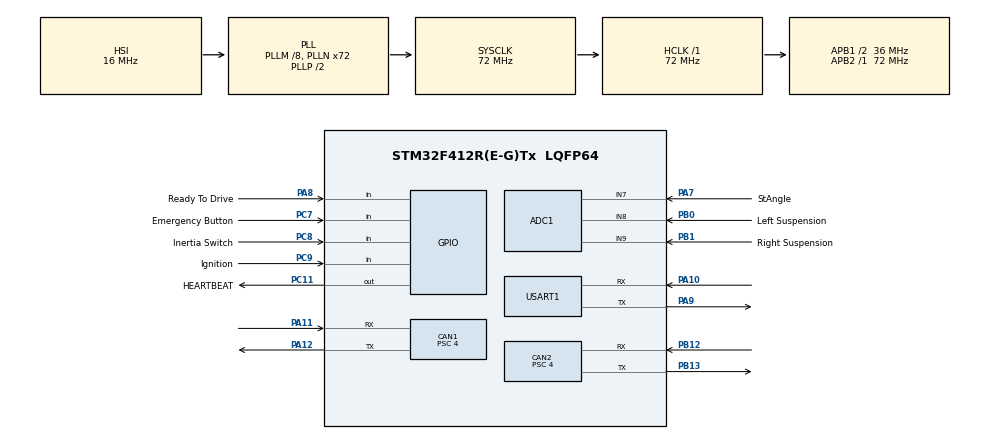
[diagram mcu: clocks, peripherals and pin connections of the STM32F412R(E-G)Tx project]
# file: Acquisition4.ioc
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ADC1.Channel-0\#ChannelRegularConversion=ADC_CHANNEL_7
ADC1.Channel-1\#ChannelRegularConversion=ADC_CHANNEL_8
ADC1.Channel-2\#ChannelRegularConversion=ADC_CHANNEL_9
ADC1.ContinuousConvMode=ENABLE
ADC1.DMAContinuousRequests=ENABLE
ADC1.EOCSelection=ADC_EOC_SEQ_CONV
ADC1.NbrOfConversion=3
ADC1.NbrOfConversionFlag=1
ADC1.Rank-0\#ChannelRegularConversion=1
ADC1.Rank-1\#ChannelRegularConversion=2
ADC1.Rank-2\#ChannelRegularConversion=3
ADC1.SamplingTime-0\#ChannelRegularConversion=ADC_SAMPLETIME_480CYCLES
ADC1.SamplingTime-1\#ChannelRegularConversion=ADC_SAMPLETIME_480CYCLES
ADC1.SamplingTime-2\#ChannelRegularConversion=ADC_SAMPLETIME_480CYCLES
ADC1.ScanConvMode=ENABLE
ADC1.master=1
CAN1.ABOM=ENABLE
CAN1.BS1=CAN_BS1_6TQ
CAN1.BS2=CAN_BS2_2TQ
CAN1.CalculateBaudRate=1000000
CAN1.CalculateTimeBit=1000
CAN1.CalculateTimeQuantum=111.11111111111111
CAN1.NART=DISABLE
CAN1.Prescaler=4
CAN2.ABOM=ENABLE
CAN2.BS1=CAN_BS1_6TQ
CAN2.BS2=CAN_BS2_2TQ
CAN2.CalculateBaudRate=1000000
CAN2.CalculateTimeBit=1000
CAN2.CalculateTimeQuantum=111.11111111111111
CAN2.NART=DISABLE
CAN2.Prescaler=4
Dma.ADC1.0.Direction=DMA_PERIPH_TO_MEMORY
Dma.ADC1.0.FIFOMode=DMA_FIFOMODE_DISABLE
Dma.ADC1.0.Instance=DMA2_Stream0
Dma.ADC1.0.MemDataAlignment=DMA_MDATAALIGN_HALFWORD
Dma.ADC1.0.MemInc=DMA_MINC_ENABLE
Dma.ADC1.0.Mode=DMA_CIRCULAR
Dma.ADC1.0.PeriphDataAlignment=DMA_PDATAALIGN_HALFWORD
Dma.ADC1.0.PeriphInc=DMA_PINC_DISABLE
Dma.ADC1.0.Priority=DMA_PRIORITY_LOW
Dma.Request0=ADC1
IWDG.Prescaler=IWDG_PRESCALER_64
IWDG.Reload=1000
Mcu.Family=STM32F4
Mcu.Name=STM32F412R(E-G)Tx
Mcu.Package=LQFP64
NVIC.CAN1_RX0_IRQn=true\:0\:0\:false\:false\:true\:true\:true\:true
NVIC.CAN1_RX1_IRQn=true\:0\:0\:false\:false\:true\:true\:true\:true
NVIC.CAN1_SCE_IRQn=true\:0\:0\:false\:false\:true\:true\:true\:true
NVIC.CAN1_TX_IRQn=true\:0\:0\:false\:false\:true\:true\:true\:true
NVIC.CAN2_RX0_IRQn=true\:0\:0\:false\:false\:true\:true\:true\:true
NVIC.CAN2_RX1_IRQn=true\:0\:0\:false\:false\:true\:true\:true\:true
NVIC.CAN2_SCE_IRQn=true\:0\:0\:false\:false\:true\:true\:true\:true
NVIC.CAN2_TX_IRQn=true\:0\:0\:false\:false\:true\:true\:true\:true
NVIC.DMA2_Stream0_IRQn=true\:0\:0\:false\:false\:true\:false\:true\:true
NVIC.PriorityGroup=NVIC_PRIORITYGROUP_4
NVIC.TIM7_IRQn=true\:0\:0\:false\:false\:true\:true\:true\:true
PA10.Mode=Asynchronous
PA10.Signal=USART1_RX
PA11.GPIO_PuPd=GPIO_PULLUP
PA11.Mode=CAN_Activate
PA11.Signal=CAN1_RX
PA12.Mode=CAN_Activate
PA12.Signal=CAN1_TX
PA13.Mode=Serial_Wire
PA13.Signal=SYS_JTMS-SWDIO
PA14.Mode=Serial_Wire
PA14.Signal=SYS_JTCK-SWCLK
PA7.GPIO_Label=StAngle
PA7.Signal=ADCx_IN7
PA8.GPIO_Label=Ready To Drive
PA8.Signal=GPIO_Input
PA9.Mode=Asynchronous
PA9.Signal=USART1_TX
PB0.GPIO_Label=Left Suspension
PB0.Signal=ADCx_IN8
PB1.GPIO_Label=Right Suspension
PB1.Signal=ADCx_IN9
PB12.GPIO_PuPd=GPIO_PULLUP
PB12.Mode=CAN_Activate
PB12.Signal=CAN2_RX
PB13.Mode=CAN_Activate
PB13.Signal=CAN2_TX
PC11.GPIO_Label=HEARTBEAT
PC11.Signal=GPIO_Output
PC7.GPIO_Label=Emergency Button
PC7.Signal=GPIO_Input
PC8.GPIO_Label=Inertia Switch
PC8.Signal=GPIO_Input
PC9.GPIO_Label=Ignition
PC9.Signal=GPIO_Input
PH0\ -\ OSC_IN.Mode=HSE-External-Oscillator
PH0\ -\ OSC_IN.Signal=RCC_OSC_IN
PH1\ -\ OSC_OUT.Mode=HSE-External-Oscillator
PH1\ -\ OSC_OUT.Signal=RCC_OSC_OUT
ProjectManager.HeapSize=0x200
ProjectManager.StackSize=0x400
ProjectManager.TargetToolchain=STM32CubeIDE
RCC.AHBFreq_Value=72000000
RCC.APB1CLKDivider=RCC_HCLK_DIV2
RCC.APB1Freq_Value=36000000
RCC.APB1TimFreq_Value=72000000
RCC.APB2Freq_Value=72000000
RCC.APB2TimFreq_Value=72000000
RCC.CortexFreq_Value=72000000
RCC.HCLKFreq_Value=72000000
RCC.HSE_VALUE=8000000
RCC.PLLM=8
RCC.PLLN=72
RCC.SYSCLKFreq_VALUE=72000000
RCC.SYSCLKSource=RCC_SYSCLKSOURCE_PLLCLK
RCC.USBFreq_Value=72000000
RCC.VCOOutputFreq_Value=144000000
SH.ADCx_IN7.0=ADC1_IN7,IN7
SH.ADCx_IN8.0=ADC1_IN8,IN8
SH.ADCx_IN9.0=ADC1_IN9,IN9
TIM7.Period=35999
TIM7.Prescaler=1
USART1.VirtualMode=VM_ASYNC
VP_IWDG_VS_IWDG.Mode=IWDG_Activate
VP_TIM7_VS_ClockSourceINT.Mode=Enable_Timer
board=custom

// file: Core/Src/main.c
/* USER CODE BEGIN Header */
/**
 ******************************************************************************
 * @file           : main.c
 * @brief          : Main program body
 ******************************************************************************
 * @attention
 *
 * Copyright (c) 2026 STMicroelectronics.
 * All rights reserved.
 *
 * This software is licensed under terms that can be found in the LICENSE file
 * in the root directory of this software component.
 * If no LICENSE file comes with this software, it is provided AS-IS.
 *
 ******************************************************************************
 */
/* USER CODE END Header */
#include "main.h"
#include "adc.h"
#include "can.h"
#include "dma.h"
#include "iwdg.h"
#include "tim.h"
#include "usart.h"
#include "gpio.h"

/* USER CODE BEGIN Includes */
#include <stdio.h>
#include <math.h>

/* USER CODE END Includes */

/* USER CODE BEGIN PD */
#define WINDOW 5
uint32_t ADC_VAL[3];
/* USER CODE END PD */

/* USER CODE BEGIN PV */
uint32_t time_ms = 0;

uint16_t Ready, Emergency, Ignition, Inercia;
uint16_t adc_st_angle;
uint16_t adcLeftSuspension;
uint16_t adcRightSuspension;
uint16_t angleCAN, leftSusCAN, rightSusCAN;
float tensao;

//Media movel
uint32_t buffer[3][WINDOW] = {0};
uint8_t  idx[3] = {0};

//CAN
CAN_TxHeaderTypeDef TxHeader;
uint8_t TxData[8];
uint32_t TxMailbox;

//Functions
void execute_immediate_tasks(void);
void execute_10ms_tasks(void);
void execute_50ms_tasks(void);
void execute_100ms_tasks(void);

/* USER CODE END PV */

void SystemClock_Config(void);
/* USER CODE BEGIN PFP */

int _write(int file, char *data, int len) {
	HAL_UART_Transmit(&huart1, (uint8_t*) data, len, HAL_MAX_DELAY);
	return len;
}

void HAL_ADC_ConvCpltCallback(ADC_HandleTypeDef *hadc) // necessario?------------------------------------------------------------------

{
  // Process the data
}

float MeasureSuspensionPosition(uint16_t bits);
float MeasureSteeringAngle(uint16_t bits);

uint32_t moving_average(uint32_t new_sample, uint8_t channel);

/* USER CODE END PFP */

/* USER CODE BEGIN 0 */
void HAL_TIM_PeriodElapsedCallback(TIM_HandleTypeDef* htim){
	if (htim->Instance == TIM7) {
	time_ms++;
	}
}
/* USER CODE END 0 */

int main(void)
{

  /* MCU Configuration--------------------------------------------------------*/

  /* Reset of all peripherals, Initializes the Flash interface and the Systick. */
  HAL_Init();

  /* Configure the system clock */
  SystemClock_Config();

  /* Initialize all configured peripherals */
  MX_GPIO_Init();
  MX_DMA_Init();
  MX_CAN1_Init();
  MX_CAN2_Init();
  MX_USART1_UART_Init();
  MX_TIM7_Init();
  MX_IWDG_Init();
  MX_ADC1_Init();
  /* USER CODE BEGIN 2 */
  HAL_TIM_Base_Start_IT(&htim7);

  /* USER CODE END 2 */

  /* Infinite loop */
  /* USER CODE BEGIN WHILE */
  HAL_ADC_Start_DMA(&hadc1, ADC_VAL, 3);
	while (1) {
    /* USER CODE END WHILE */

    /* USER CODE BEGIN 3 */

		//Execute immediate tasks
		execute_immediate_tasks();

		static uint32_t previus_tick_10ms = 0;
		static uint32_t previus_tick_50ms = 0;
		static uint32_t previus_tick_100ms = 0;

		//Execute 10ms Tasks
		if (time_ms - previus_tick_10ms >= 10) {
			execute_10ms_tasks();
			previus_tick_10ms = time_ms;
		}

		//Execute 50ms Tasks
		if (time_ms - previus_tick_50ms >= 50) {
			execute_50ms_tasks();
			previus_tick_50ms = time_ms;
		}

		//Execute 100ms Tasks
		if(time_ms - previus_tick_100ms >= 100){
			execute_100ms_tasks();
			previus_tick_100ms = time_ms;
		}
	}

  /* USER CODE END 3 */
}

void SystemClock_Config(void)
{
  RCC_OscInitTypeDef RCC_OscInitStruct = {0};
  RCC_ClkInitTypeDef RCC_ClkInitStruct = {0};

  /** Configure the main internal regulator output voltage
  */
  __HAL_RCC_PWR_CLK_ENABLE();
  __HAL_PWR_VOLTAGESCALING_CONFIG(PWR_REGULATOR_VOLTAGE_SCALE1);

  /** Initializes the RCC Oscillators according to the specified parameters
  * in the RCC_OscInitTypeDef structure.
  */
  RCC_OscInitStruct.OscillatorType = RCC_OSCILLATORTYPE_HSI|RCC_OSCILLATORTYPE_LSI;
  RCC_OscInitStruct.HSIState = RCC_HSI_ON;
  RCC_OscInitStruct.HSICalibrationValue = RCC_HSICALIBRATION_DEFAULT;
  RCC_OscInitStruct.LSIState = RCC_LSI_ON;
  RCC_OscInitStruct.PLL.PLLState = RCC_PLL_ON;
  RCC_OscInitStruct.PLL.PLLSource = RCC_PLLSOURCE_HSI;
  RCC_OscInitStruct.PLL.PLLM = 8;
  RCC_OscInitStruct.PLL.PLLN = 72;
  RCC_OscInitStruct.PLL.PLLP = RCC_PLLP_DIV2;
  RCC_OscInitStruct.PLL.PLLQ = 2;
  RCC_OscInitStruct.PLL.PLLR = 2;
  if (HAL_RCC_OscConfig(&RCC_OscInitStruct) != HAL_OK)
  {
    Error_Handler();
  }

  /** Initializes the CPU, AHB and APB buses clocks
  */
  RCC_ClkInitStruct.ClockType = RCC_CLOCKTYPE_HCLK|RCC_CLOCKTYPE_SYSCLK
                              |RCC_CLOCKTYPE_PCLK1|RCC_CLOCKTYPE_PCLK2;
  RCC_ClkInitStruct.SYSCLKSource = RCC_SYSCLKSOURCE_PLLCLK;
  RCC_ClkInitStruct.AHBCLKDivider = RCC_SYSCLK_DIV1;
  RCC_ClkInitStruct.APB1CLKDivider = RCC_HCLK_DIV2;
  RCC_ClkInitStruct.APB2CLKDivider = RCC_HCLK_DIV1;

  if (HAL_RCC_ClockConfig(&RCC_ClkInitStruct, FLASH_LATENCY_2) != HAL_OK)
  {
    Error_Handler();
  }
}

/* USER CODE BEGIN 4 */
void execute_immediate_tasks() {

}
void execute_10ms_tasks() {
	HAL_IWDG_Refresh(&hiwdg);

	 	  Ready = HAL_GPIO_ReadPin(Ready_To_Drive_GPIO_Port, Ready_To_Drive_Pin);
		  Emergency = HAL_GPIO_ReadPin(Emergency_Button_GPIO_Port, Emergency_Button_Pin);
		  Inercia = HAL_GPIO_ReadPin(Inertia_Switch_GPIO_Port, Inertia_Switch_Pin);
		  Ignition = HAL_GPIO_ReadPin(Ignition_GPIO_Port, Ignition_Pin);
		  adc_st_angle = ADC_VAL[0];
		  adcLeftSuspension = ADC_VAL[1];
		  adcRightSuspension = ADC_VAL[2];
}
void execute_50ms_tasks() {

	//medias moveis
	angleCAN = moving_average(adc_st_angle, 0) * 10;
	leftSusCAN = moving_average(adcLeftSuspension, 1) * 10;
	rightSusCAN = moving_average(adcRightSuspension, 2) * 10;

	//CAN Message
	TxHeader.IDE = CAN_ID_STD;
	TxHeader.StdId = 0x710;
	TxHeader.RTR = CAN_RTR_DATA;
	TxHeader.DLC = 7;

	TxData[0] = angleCAN & 0xFF;              // Least significant byte first
	TxData[1] = (angleCAN >> 8) & 0xFF;             // Most significant byte
	TxData[2] = leftSusCAN & 0xFF;
	TxData[3] = (leftSusCAN >> 8) & 0xFF;
	TxData[4] = rightSusCAN & 0xFF;
	TxData[5] = (rightSusCAN >> 8) & 0xFF;
	TxData[6] =((Inercia & 0x1) | ((Emergency & 0x1) << 1)) & 0xFF;

	if (HAL_CAN_AddTxMessage(&hcan1, &TxHeader, TxData, &TxMailbox) != HAL_OK) {
		Error_Handler();
	}

	TxHeader.DLC = 2;
	TxData[0] = Ignition;
	TxData[1] = Ready;

	if (HAL_CAN_AddTxMessage(&hcan2, &TxHeader, TxData, &TxMailbox) != HAL_OK) {
		Error_Handler();
	}

}
void execute_100ms_tasks() {
	HAL_GPIO_TogglePin(HEARTBEAT_GPIO_Port, HEARTBEAT_Pin); //HEARTBEAT
	//teste USART
	printf("Esta merda funfa\n");

	printf("Ignition %u\n", Ignition);
	printf("Ready to drive: %u\n", Ready);
	printf("Emergency %u\n", Emergency);
	printf("Inertia %u\n", Inercia);
	printf("Angle %.2f\n", MeasureSteeringAngle(adc_st_angle));
	printf("LeftSus %.2f\n", MeasureSuspensionPosition(adcLeftSuspension));
	printf("RightSus %.2f\n", MeasureSuspensionPosition(adcRightSuspension));

}

//---------------------------------------------------------Funcoes de medida----------------------------------------------//
float MeasureSuspensionPosition(uint16_t bits)
{
  // Constants and Variables
  float V_SUSP;                                    // Voltage Signal from sensor
  float sensor_voltage = 5;                       // MAX Voltage level from sensor
  float MCU_voltage = 3.3;                        // MAX MCU voltage level
  float Electrical_stroke = 75;                   // mm
  float SUSPENSION_POSITION;                      // Suspension level in mm
  float Conversion_Factor = MCU_voltage / sensor_voltage;
  float volts;                                    // converted voltage
  // Calculate Voltage from ADC
  V_SUSP = (MCU_voltage * bits) / 4095;
  volts = V_SUSP / Conversion_Factor;
  // Calculate Position
  SUSPENSION_POSITION = (Electrical_stroke * volts) / sensor_voltage;

  return SUSPENSION_POSITION;                     // return suspension level in millimeters
}

float MeasureSteeringAngle(uint16_t bits)
{
// Constants and variables
  const float ADC_MAX = 4095.0f;
  const float MCU_VREF = 3.3f;                    // MCU reference voltage
  const float SENSOR_VREF_Max = 4.5f;             // Maximum sensor reference voltage
  const float SENSOR_VREF_Min = 0.5f;             // Minimum sensor reference voltage
  const float Resolution = 180.0f;                // Resolution of sensor -180 to 180
  const float OFFSET = 0.0f;                    // In case of mechanical problems, put offset angle

  // Calculate Function Slope
  float max_v = SENSOR_VREF_Max * (2.0f/3.0f);
  float min_v = SENSOR_VREF_Min * (2.0f/3.0f);
  float inclination = 360.0f / (max_v - min_v);

  // Calculate Steering Angle
  float V_STA = (MCU_VREF * bits) / ADC_MAX;
  float ST_Angle = inclination * V_STA - 45 - Resolution;

  // If necessary add OFFSET
  ST_Angle += OFFSET;
  return ST_Angle;
}

uint32_t moving_average(uint32_t new_sample, uint8_t channel) {
    buffer[channel][idx[channel]] = new_sample;
    idx[channel] = (idx[channel] + 1) % WINDOW;

    uint32_t sum = 0;
    for (uint8_t i = 0; i < WINDOW; i++)
        sum += buffer[channel][i];

    return sum / WINDOW;
}

/* USER CODE END 4 */

void Error_Handler(void)
{
	__disable_irq();
	while (1) {
	}
}
